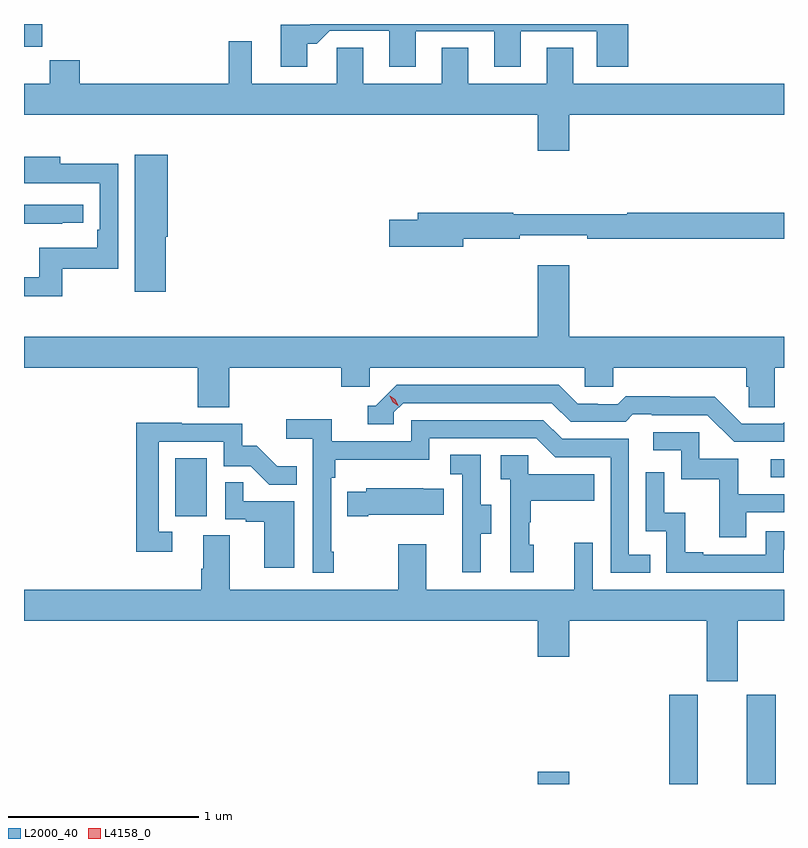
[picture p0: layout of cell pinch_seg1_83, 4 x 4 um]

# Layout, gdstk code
import gdstk
lib = gdstk.Library(unit=1e-6, precision=1e-09)
def R(c, l, rs):  # rectangles x0, y0, x1, y1
    for r in rs: c.add(gdstk.rectangle(r[:2], r[2:], *l))
def P(c, l, *ps):  # polygons
    for p in ps: c.add(gdstk.Polygon(p, *l))
L2000_40 = (2000, 40)
L4158_0 = (4158, 0)

pinch_seg1_83 = lib.new_cell('pinch_seg1_83')
R(pinch_seg1_83, L2000_40, [(1076.096,578.846,1076.26,578.911), (1076.786,578.846,1076.938,579.315), (1077.194,578.846,1077.347,579.315), (1074.188,580.254,1074.352,580.561), (1077.321,580.461,1077.391,580.554), (1073.391,582.726,1073.486,582.844)])
P(pinch_seg1_83, L2000_40, [(1074.883,582.743),(1074.932,582.743),(1074.999,582.81),(1075.313,582.81),(1075.313,582.621),(1075.453,582.621),(1075.453,582.807),(1075.865,582.807),(1075.865,582.621),(1076.005,582.621),(1076.005,582.807),(1076.405,582.807),(1076.405,582.621),(1076.57,582.621),(1076.57,582.846),(1074.897,582.846),(1074.892,582.841),(1074.743,582.841),(1074.743,582.621),(1074.883,582.621)],
  [(1076.26,582.368),(1077.391,582.368),(1077.391,582.532),(1076.281,582.532),(1076.281,582.722),(1076.141,582.722),(1076.141,582.532),(1075.729,582.532),(1075.729,582.722),(1075.589,582.722),(1075.589,582.532),(1075.177,582.532),(1075.177,582.722),(1075.038,582.722),(1075.038,582.532),(1074.589,582.532),(1074.589,582.754),(1074.468,582.754),(1074.468,582.532),(1073.684,582.532),(1073.684,582.656),(1073.527,582.656),(1073.527,582.532),(1073.391,582.532),(1073.391,582.368),(1076.096,582.368),(1076.096,582.18),(1076.26,582.18)],
  [(1074.136,581.727),(1074.148,581.727),(1074.148,582.157),(1073.975,582.157),(1073.975,581.436),(1074.136,581.436)],
  [(1073.593,581.559),(1073.886,581.559),(1073.886,582.11),(1073.581,582.11),(1073.581,582.148),(1073.391,582.148),(1073.391,582.008),(1073.477,582.008),(1073.477,582.009),(1073.79,582.009),(1073.79,581.764),(1073.777,581.764),(1073.777,581.668),(1073.472,581.668),(1073.472,581.513),(1073.391,581.513),(1073.391,581.412),(1073.593,581.412)],
  [(1073.591,581.799),(1073.704,581.799),(1073.704,581.895),(1073.391,581.895),(1073.391,581.794),(1073.591,581.794)],
  [(1075.702,581.716),(1076,581.716),(1076,581.735),(1076.356,581.735),(1076.356,581.716),(1077.391,581.716),(1077.391,581.852),(1076.567,581.852),(1076.567,581.845),(1075.967,581.845),(1075.967,581.852),(1075.463,581.852),(1075.463,581.816),(1075.314,581.816),(1075.314,581.674),(1075.702,581.674)],
  [(1074.47,581.036),(1075.061,581.036),(1075.061,580.938),(1075.212,580.938),(1075.212,581.036),(1076.343,581.036),(1076.343,580.938),(1076.493,580.938),(1076.493,581.036),(1077.191,581.036),(1077.191,580.938),(1077.205,580.938),(1077.205,580.828),(1077.342,580.828),(1077.342,581.036),(1077.391,581.036),(1077.391,581.2),(1076.26,581.2),(1076.26,581.575),(1076.096,581.575),(1076.096,581.2),(1073.391,581.2),(1073.391,581.036),(1074.305,581.036),(1074.305,580.828),(1074.47,580.828)],
  [(1077.391,580.75),(1077.384,580.743),(1077.168,580.743),(1077.026,580.885),(1076.79,580.885),(1076.79,580.888),(1076.557,580.888),(1076.515,580.845),(1076.412,580.845),(1076.412,580.848),(1076.305,580.848),(1076.206,580.947),(1075.353,580.947),(1075.242,580.836),(1075.199,580.836),(1075.199,580.74),(1075.338,580.74),(1075.338,580.803),(1075.386,580.851),(1076.169,580.851),(1076.268,580.752),(1076.557,580.752),(1076.596,580.791),(1076.695,580.791),(1076.695,580.788),(1076.988,580.788),(1077.129,580.647),(1077.391,580.647)],
  [(1075.021,580.069),(1075.008,580.069),(1075.008,580.457),(1075.028,580.457),(1075.028,580.553),(1075.524,580.553),(1075.524,580.665),(1076.088,580.665),(1076.187,580.566),(1076.478,580.566),(1076.478,579.957),(1076.687,579.957),(1076.687,580.053),(1076.574,580.053),(1076.574,580.662),(1076.224,580.662),(1076.125,580.761),(1075.428,580.761),(1075.428,580.65),(1075.01,580.65),(1075.01,580.766),(1074.771,580.766),(1074.771,580.664),(1074.912,580.664),(1074.912,579.957),(1075.021,579.957)],
  [(1074.172,580.173),(1074.099,580.173),(1074.099,580.647),(1074.441,580.647),(1074.441,580.518),(1074.585,580.518),(1074.683,580.42),(1074.827,580.42),(1074.827,580.519),(1074.723,580.519),(1074.616,580.626),(1074.54,580.626),(1074.54,580.743),(1074.221,580.743),(1074.221,580.748),(1073.983,580.748),(1073.983,580.068),(1074.172,580.068)],
  [(1077.193,580.275),(1077.391,580.275),(1077.391,580.371),(1077.151,580.371),(1077.151,580.557),(1076.946,580.557),(1076.946,580.698),(1076.703,580.698),(1076.703,580.602),(1076.85,580.602),(1076.85,580.449),(1077.049,580.449),(1077.049,580.146),(1077.193,580.146)],
  [(1075.795,580.162),(1075.849,580.162),(1075.849,580.317),(1075.794,580.317),(1075.794,580.58),(1075.635,580.58),(1075.635,580.477),(1075.698,580.477),(1075.698,580.173),(1075.697,580.173),(1075.697,579.96),(1075.795,579.96)],
  [(1076.074,580.104),(1076.049,580.104),(1076.049,580.223),(1076.059,580.223),(1076.059,580.337),(1076.393,580.337),(1076.393,580.477),(1076.046,580.477),(1076.046,580.575),(1075.899,580.575),(1075.899,580.451),(1075.95,580.451),(1075.95,579.96),(1076.074,579.96)],
  [(1077.39,580.08),(1077.391,580.08),(1077.391,580.176),(1077.294,580.176),(1077.294,580.053),(1076.965,580.053),(1076.965,580.066),(1076.87,580.066),(1076.87,580.274),(1076.76,580.274),(1076.76,580.486),(1076.664,580.486),(1076.664,580.176),(1076.772,580.176),(1076.772,579.957),(1077.39,579.957)],
  [(1074.814,580.335),(1074.545,580.335),(1074.545,580.433),(1074.45,580.433),(1074.45,580.239),(1074.557,580.239),(1074.557,580.227),(1074.656,580.227),(1074.656,579.984),(1074.814,579.984)],
  [(1075.204,580.262),(1075.601,580.262),(1075.601,580.399),(1075.493,580.399),(1075.493,580.402),(1075.191,580.402),(1075.191,580.384),(1075.093,580.384),(1075.093,580.255),(1075.204,580.255)],
  [(1077.148,579.704),(1077.391,579.704),(1077.391,579.868),(1076.385,579.868),(1076.385,580.117),(1076.288,580.117),(1076.288,579.868),(1075.507,579.868),(1075.507,580.108),(1075.36,580.108),(1075.36,579.868),(1074.475,579.868),(1074.475,580.154),(1074.335,580.154),(1074.335,579.98),(1074.323,579.98),(1074.323,579.868),(1073.391,579.868),(1073.391,579.704),(1076.096,579.704),(1076.096,579.516),(1076.26,579.516),(1076.26,579.704),(1076.984,579.704),(1076.984,579.387),(1077.148,579.387)])
P(pinch_seg1_83, L4158_0, [(1075.362,580.837),(1075.331,580.856),(1075.315,580.889),(1075.315,580.889),(1075.315,580.889),(1075.346,580.87),(1075.362,580.837),(1075.362,580.837)])

lib.write_gds('pinch_seg1_83.gds')
